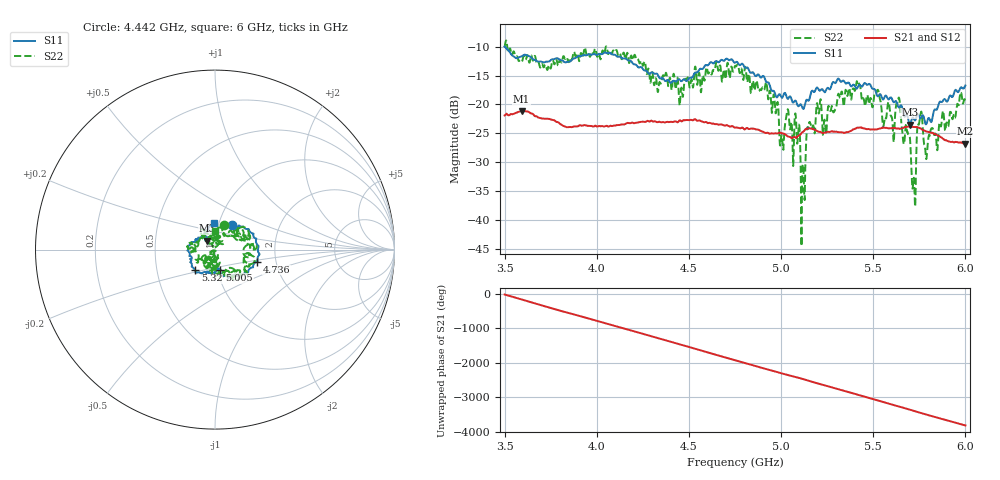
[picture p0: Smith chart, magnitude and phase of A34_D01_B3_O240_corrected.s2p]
! Created with skrf 1.9.0 (http://scikit-rf.org).
# Hz S RI R 50.0
!freq ReS11 ImS11 ReS21 ImS21 ReS12 ImS12 ReS22 ImS22
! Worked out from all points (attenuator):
!   1601 points, 3.5 GHz to 6 GHz, reference 50 ohm
!   highest |S21| = -21.13 dB at 3.592 GHz (marker M1); lowest = -26.8 dB at 6 GHz (marker M2)
!   lowest |S11| = -23.5 dB at 5.698 GHz (marker M3), VSWR 1.14, Z = 45.6 + j4.6 ohm
!   |S11| at or under -10 dB: 3.501 GHz to end of sweep
!   |S22| runs from -44.6 to -8.9 dB; largest |S21 - S12| = 0.0012
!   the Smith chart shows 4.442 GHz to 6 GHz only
!   S11 on the Smith chart (normalised r, x): 4.442 GHz: 1.16, +0.32; 4.736 GHz: 1.59, -0.23; 5.005 GHz: 1.03, -0.23; 5.32 GHz: 0.78, -0.19; 6 GHz: 0.95, +0.28
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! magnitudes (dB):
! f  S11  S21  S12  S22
! 3.5 GHz  -10.0  -21.9  -21.9  -10.0
! 3.592 GHz  -11.7  -21.1  -21.1  -12.5
! 3.917 GHz  -11.6  -23.7  -23.7  -11.1
! 4.334 GHz  -15.1  -23.0  -23.0  -17.4
! 4.442 GHz  -15.7  -23.0  -23.0  -16.6
! 4.736 GHz  -12.3  -23.8  -23.8  -14.0
! 4.75 GHz  -12.8  -24.0  -24.0  -13.3
! 4.928 GHz  -16.2  -24.9  -24.9  -18.7
! 5.005 GHz  -18.8  -25.0  -25.0  -25.3
! 5.033 GHz  -18.9  -25.5  -25.4  -21.2
! 5.088 GHz  -20.0  -25.6  -25.6  -26.8
! 5.119 GHz  -20.7  -24.8  -24.7  -30.4
! 5.147 GHz  -19.3  -24.2  -24.2  -24.1
! 5.167 GHz  -17.6  -24.2  -24.2  -24.2
! 5.32 GHz  -15.9  -24.8  -24.8  -18.9
! 5.584 GHz  -19.1  -24.1  -24.1  -19.6
! 5.636 GHz  -20.4  -24.1  -24.1  -19.1
! 5.698 GHz  -23.5  -23.8  -23.8  -25.6
! 5.72 GHz  -22.5  -23.9  -23.9  -32.7
! 5.753 GHz  -22.4  -24.1  -24.1  -22.6
! 5.786 GHz  -23.4  -24.7  -24.6  -29.3
! 6 GHz  -16.7  -26.8  -26.7  -19.6
